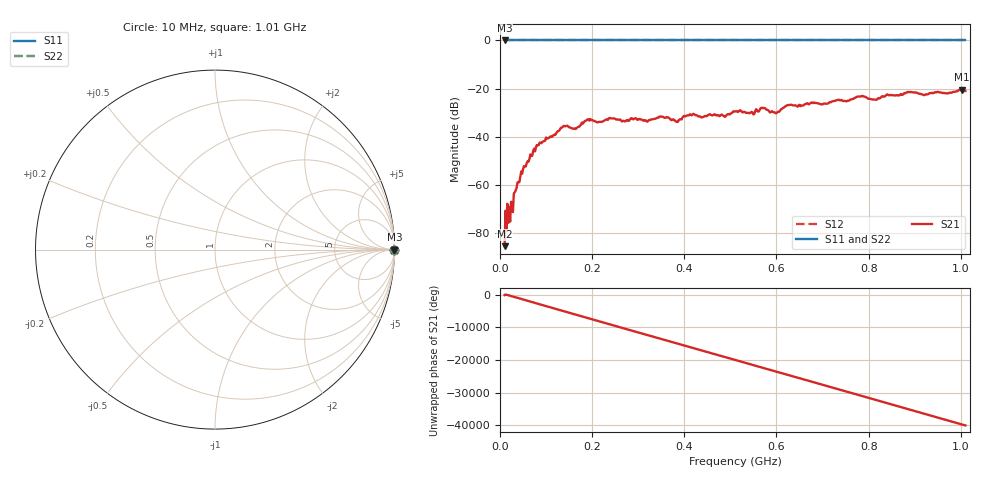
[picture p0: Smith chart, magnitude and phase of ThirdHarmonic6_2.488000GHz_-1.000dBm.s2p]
! 8/17/2025 4:41:27 AM
! C:\ANRITSUVNA\TEMP\TEMP.S2P
! CHANNEL.1
! TR.MEASUREMENT
! RAW.DATA
! RF.CORRECTION.OFF
! AVERAGING.OFF
! IF.BANDWIDTH: 5KHZ
! SWEEPTYPE:  FREQ.SWEEP(Linear)
! Reference Plane Port Info
! PORT:  PORT1  PORT2
! DISTANCE:  0  m  0  m
! TIME:  0  s  0  s
! PHASE.OFFSET:  0  deg.  0  deg.
! LOSS:  0  dB  0  dB
! REF.LOSS:  0  dB  0  dB
! REF.FREQ:  0  Hz  0  Hz
! Power Info
! POWER:  -20  dBm  -20  dBm
! EFF.POWER:  -20  dBm  -20  dBm
! SOURCE.ATTEN:  0  dB  0  dB
! TEST.ATTEN:  0  dB  0  dB
# GHZ S RI R 50.0
! FREQ.GHZ  S11RE  S11IM  S21RE  S21IM  S12RE  S12IM  S22RE  S22IM
!; PortSelection: Port_12
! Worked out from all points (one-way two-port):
!   501 points, 10 MHz to 1.01 GHz, reference 50 ohm
!   highest |S21| = -20.40 dB at 1.002 GHz (marker M1); lowest = -85.3 dB at 10 MHz (marker M2)
!   lowest |S11| = 0.0 dB at 10 MHz (marker M3)
!   |S11| at or under -10 dB: nowhere
!   |S22| runs from 0.0 to 0.0 dB; largest |S21 - S12| = 1.1
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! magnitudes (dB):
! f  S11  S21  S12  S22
! 10 MHz  0.0  -85.3  0.0  0.0
! 16 MHz  0.0  -67.7  0.0  0.0
! 18 MHz  0.0  -75.6  0.0  0.0
! 26 MHz  0.0  -67.5  0.0  0.0
! 34 MHz  0.0  -62.2  0.0  0.0
! 48 MHz  0.0  -55.3  0.0  0.0
! 76 MHz  0.0  -46.0  0.0  0.0
! 136 MHz  0.0  -35.9  0.0  0.0
! 178 MHz  0.0  -34.0  0.0  0.0
! 344 MHz  0.0  -32.0  0.0  0.0
! 384 MHz  0.0  -33.8  0.0  0.0
! 416 MHz  0.0  -31.0  0.0  0.0
! 488 MHz  0.0  -31.7  0.0  0.0
! 510 MHz  0.0  -29.4  0.0  0.0
! 548 MHz  0.0  -29.9  0.0  0.0
! 570 MHz  0.0  -28.1  0.0  0.0
! 598 MHz  0.0  -30.2  0.0  0.0
! 624 MHz  0.0  -26.8  0.0  0.0
! 678 MHz  0.0  -25.8  0.0  0.0
! 844 MHz  0.0  -22.8  0.0  0.0
! 1.002 GHz  0.0  -20.4  0.0  0.0
! 1.01 GHz  0.0  -20.9  0.0  0.0
